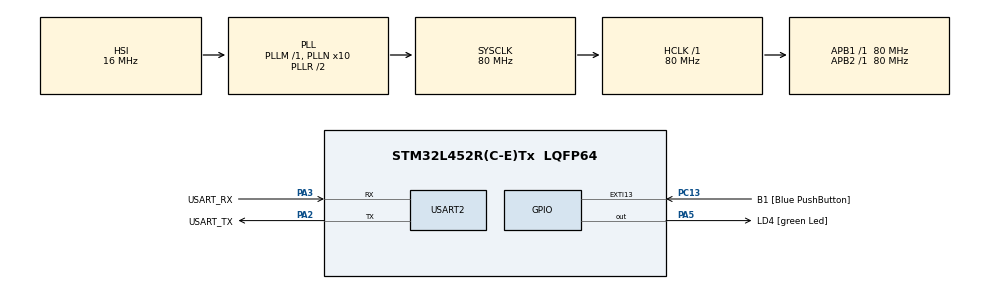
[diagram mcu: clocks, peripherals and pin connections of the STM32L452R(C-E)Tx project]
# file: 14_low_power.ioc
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Mcu.Family=STM32L4
Mcu.Name=STM32L452R(C-E)Tx
Mcu.Package=LQFP64
NVIC.PriorityGroup=NVIC_PRIORITYGROUP_4
PA13\ (JTMS/SWDIO).GPIO_Label=TMS
PA13\ (JTMS/SWDIO).Mode=Serial_Wire
PA13\ (JTMS/SWDIO).Signal=SYS_JTMS-SWDIO
PA14\ (JTCK/SWCLK).GPIO_Label=TCK
PA14\ (JTCK/SWCLK).Mode=Serial_Wire
PA14\ (JTCK/SWCLK).Signal=SYS_JTCK-SWCLK
PA2.GPIO_Label=USART_TX
PA2.GPIO_Mode=GPIO_MODE_AF_PP
PA2.GPIO_PuPd=GPIO_NOPULL
PA2.GPIO_Speed=GPIO_SPEED_FREQ_VERY_HIGH
PA2.Mode=Asynchronous
PA2.Signal=USART2_TX
PA3.GPIO_Label=USART_RX
PA3.GPIO_Mode=GPIO_MODE_AF_PP
PA3.GPIO_PuPd=GPIO_NOPULL
PA3.GPIO_Speed=GPIO_SPEED_FREQ_VERY_HIGH
PA3.Mode=Asynchronous
PA3.Signal=USART2_RX
PA5.GPIO_Label=LD4 [green Led]
PA5.GPIO_ModeDefaultOutputPP=GPIO_MODE_OUTPUT_PP
PA5.GPIO_PuPd=GPIO_NOPULL
PA5.GPIO_Speed=GPIO_SPEED_FREQ_LOW
PA5.Signal=GPIO_Output
PB3\ (JTDO/TRACESWO).GPIO_Label=SWO
PB3\ (JTDO/TRACESWO).Signal=SYS_JTDO-SWO
PC13.GPIO_Label=B1 [Blue PushButton]
PC13.GPIO_ModeDefaultEXTI=GPIO_MODE_IT_FALLING
PC13.GPIO_PuPd=GPIO_NOPULL
PC13.Signal=GPXTI13
PC14-OSC32_IN\ (PC14).Mode=LSE-External-Oscillator
PC14-OSC32_IN\ (PC14).Signal=RCC_OSC32_IN
PC15-OSC32_OUT\ (PC15).Mode=LSE-External-Oscillator
PC15-OSC32_OUT\ (PC15).Signal=RCC_OSC32_OUT
PH0-OSC_IN\ (PH0).Signal=RCC_OSC_IN
PH1-OSC_OUT\ (PH1).Signal=RCC_OSC_OUT
ProjectManager.HeapSize=0x200
ProjectManager.StackSize=0x400
ProjectManager.TargetToolchain=STM32CubeIDE
RCC.ADCFreq_Value=64000000
RCC.AHBFreq_Value=80000000
RCC.APB1Freq_Value=80000000
RCC.APB1TimFreq_Value=80000000
RCC.APB2Freq_Value=80000000
RCC.APB2TimFreq_Value=80000000
RCC.CortexFreq_Value=80000000
RCC.HCLKFreq_Value=80000000
RCC.HSE_VALUE=8000000
RCC.HSI48_VALUE=48000000
RCC.HSI_VALUE=16000000
RCC.MSI_VALUE=4000000
RCC.PLLN=10
RCC.PLLSourceVirtual=RCC_PLLSOURCE_HSI
RCC.PREFETCH_ENABLE=1
RCC.SYSCLKFreq_VALUE=80000000
RCC.SYSCLKSource=RCC_SYSCLKSOURCE_PLLCLK
RCC.USBFreq_Value=64000000
RCC.VCOOutputFreq_Value=160000000
USART2.VirtualMode-Asynchronous=VM_ASYNC
board=NUCLEO-L452RE

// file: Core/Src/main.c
/* USER CODE BEGIN Header */
/**
  ******************************************************************************
  * @file           : main.c
  * @brief          : Main program body
  ******************************************************************************
  * @attention
  *
  * Copyright (c) 2022 STMicroelectronics.
  * All rights reserved.
  *
  * This software is licensed under terms that can be found in the LICENSE file
  * in the root directory of this software component.
  * If no LICENSE file comes with this software, it is provided AS-IS.
  *
  ******************************************************************************
  */
/* USER CODE END Header */
#include "main.h"

/* USER CODE BEGIN Includes */
#include "stdio.h"
#include "string.h"

/* USER CODE END Includes */

UART_HandleTypeDef huart2;

/* USER CODE BEGIN PV */
uint8_t uart_flag = 1;
void HAL_GPIO_EXTI_Callback(uint16_t GPIO_Pin)
{
	if (GPIO_Pin == GPIO_PIN_13)
	{
		uart_flag = 1;
	}
	else
	{
		__NOP();
	}
}
/* USER CODE END PV */

void SystemClock_Config(void);
static void MX_GPIO_Init(void);
static void MX_USART2_UART_Init(void);

int main(void)
{
  /* USER CODE BEGIN 1 */
	char buf[80];
	int counter = 0;

  /* USER CODE END 1 */

  /* MCU Configuration--------------------------------------------------------*/

  /* Reset of all peripherals, Initializes the Flash interface and the Systick. */
  HAL_Init();

  /* Configure the system clock */
  SystemClock_Config();

  /* Initialize all configured peripherals */
  MX_GPIO_Init();
  MX_USART2_UART_Init();

  /* Infinite loop */
  /* USER CODE BEGIN WHILE */
  while (1)
  {
	  HAL_GPIO_WritePin(GPIOA, GPIO_PIN_5, GPIO_PIN_SET);
	  HAL_Delay(1000);
	  HAL_GPIO_WritePin(GPIOA, GPIO_PIN_5, GPIO_PIN_RESET);

	  /*HAL_SuspendTick();
	  HAL_PWR_EnterSLEEPMode(PWR_LOWPOWERREGULATOR_ON,PWR_SLEEPENTRY_WFI);
	  HAL_ResumeTick();*/

	  HAL_SuspendTick();
	  HAL_PWR_EnterSTOPMode(PWR_LOWPOWERREGULATOR_ON,PWR_STOPENTRY_WFI);
	  SystemClock_Config();

	  if(uart_flag)
	  {
		  uart_flag = 0;
		  counter++;
		  strcpy(buf, "Proximo mensaje sera luego de un sleep\r\n");
		  HAL_UART_Transmit(&huart2, (uint8_t *)buf, strlen((char *)buf), HAL_MAX_DELAY);
	  }

    /* USER CODE END WHILE */

  }
}

void SystemClock_Config(void)
{
  RCC_OscInitTypeDef RCC_OscInitStruct = {0};
  RCC_ClkInitTypeDef RCC_ClkInitStruct = {0};

  /** Configure the main internal regulator output voltage
  */
  if (HAL_PWREx_ControlVoltageScaling(PWR_REGULATOR_VOLTAGE_SCALE1) != HAL_OK)
  {
    Error_Handler();
  }

  /** Initializes the RCC Oscillators according to the specified parameters
  * in the RCC_OscInitTypeDef structure.
  */
  RCC_OscInitStruct.OscillatorType = RCC_OSCILLATORTYPE_HSI;
  RCC_OscInitStruct.HSIState = RCC_HSI_ON;
  RCC_OscInitStruct.HSICalibrationValue = RCC_HSICALIBRATION_DEFAULT;
  RCC_OscInitStruct.PLL.PLLState = RCC_PLL_ON;
  RCC_OscInitStruct.PLL.PLLSource = RCC_PLLSOURCE_HSI;
  RCC_OscInitStruct.PLL.PLLM = 1;
  RCC_OscInitStruct.PLL.PLLN = 10;
  RCC_OscInitStruct.PLL.PLLP = RCC_PLLP_DIV7;
  RCC_OscInitStruct.PLL.PLLQ = RCC_PLLQ_DIV2;
  RCC_OscInitStruct.PLL.PLLR = RCC_PLLR_DIV2;
  if (HAL_RCC_OscConfig(&RCC_OscInitStruct) != HAL_OK)
  {
    Error_Handler();
  }

  /** Initializes the CPU, AHB and APB buses clocks
  */
  RCC_ClkInitStruct.ClockType = RCC_CLOCKTYPE_HCLK|RCC_CLOCKTYPE_SYSCLK
                              |RCC_CLOCKTYPE_PCLK1|RCC_CLOCKTYPE_PCLK2;
  RCC_ClkInitStruct.SYSCLKSource = RCC_SYSCLKSOURCE_PLLCLK;
  RCC_ClkInitStruct.AHBCLKDivider = RCC_SYSCLK_DIV1;
  RCC_ClkInitStruct.APB1CLKDivider = RCC_HCLK_DIV1;
  RCC_ClkInitStruct.APB2CLKDivider = RCC_HCLK_DIV1;

  if (HAL_RCC_ClockConfig(&RCC_ClkInitStruct, FLASH_LATENCY_4) != HAL_OK)
  {
    Error_Handler();
  }
}

static void MX_USART2_UART_Init(void)
{

  huart2.Instance = USART2;
  huart2.Init.BaudRate = 115200;
  huart2.Init.WordLength = UART_WORDLENGTH_8B;
  huart2.Init.StopBits = UART_STOPBITS_1;
  huart2.Init.Parity = UART_PARITY_NONE;
  huart2.Init.Mode = UART_MODE_TX_RX;
  huart2.Init.HwFlowCtl = UART_HWCONTROL_NONE;
  huart2.Init.OverSampling = UART_OVERSAMPLING_16;
  huart2.Init.OneBitSampling = UART_ONE_BIT_SAMPLE_DISABLE;
  huart2.AdvancedInit.AdvFeatureInit = UART_ADVFEATURE_NO_INIT;
  if (HAL_UART_Init(&huart2) != HAL_OK)
  {
    Error_Handler();
  }

}

static void MX_GPIO_Init(void)
{
  GPIO_InitTypeDef GPIO_InitStruct = {0};

  /* GPIO Ports Clock Enable */
  __HAL_RCC_GPIOC_CLK_ENABLE();
  __HAL_RCC_GPIOH_CLK_ENABLE();
  __HAL_RCC_GPIOA_CLK_ENABLE();
  __HAL_RCC_GPIOB_CLK_ENABLE();

  /*Configure GPIO pin Output Level */
  HAL_GPIO_WritePin(LD4_GPIO_Port, LD4_Pin, GPIO_PIN_RESET);

  /*Configure GPIO pin : B1_Pin */
  GPIO_InitStruct.Pin = B1_Pin;
  GPIO_InitStruct.Mode = GPIO_MODE_IT_FALLING;
  GPIO_InitStruct.Pull = GPIO_NOPULL;
  HAL_GPIO_Init(B1_GPIO_Port, &GPIO_InitStruct);

  /*Configure GPIO pin : LD4_Pin */
  GPIO_InitStruct.Pin = LD4_Pin;
  GPIO_InitStruct.Mode = GPIO_MODE_OUTPUT_PP;
  GPIO_InitStruct.Pull = GPIO_NOPULL;
  GPIO_InitStruct.Speed = GPIO_SPEED_FREQ_LOW;
  HAL_GPIO_Init(LD4_GPIO_Port, &GPIO_InitStruct);

  /* EXTI interrupt init*/
  HAL_NVIC_SetPriority(EXTI15_10_IRQn, 0, 0);
  HAL_NVIC_EnableIRQ(EXTI15_10_IRQn);

}

void Error_Handler(void)
{
  __disable_irq();
  while (1)
  {
  }
}
